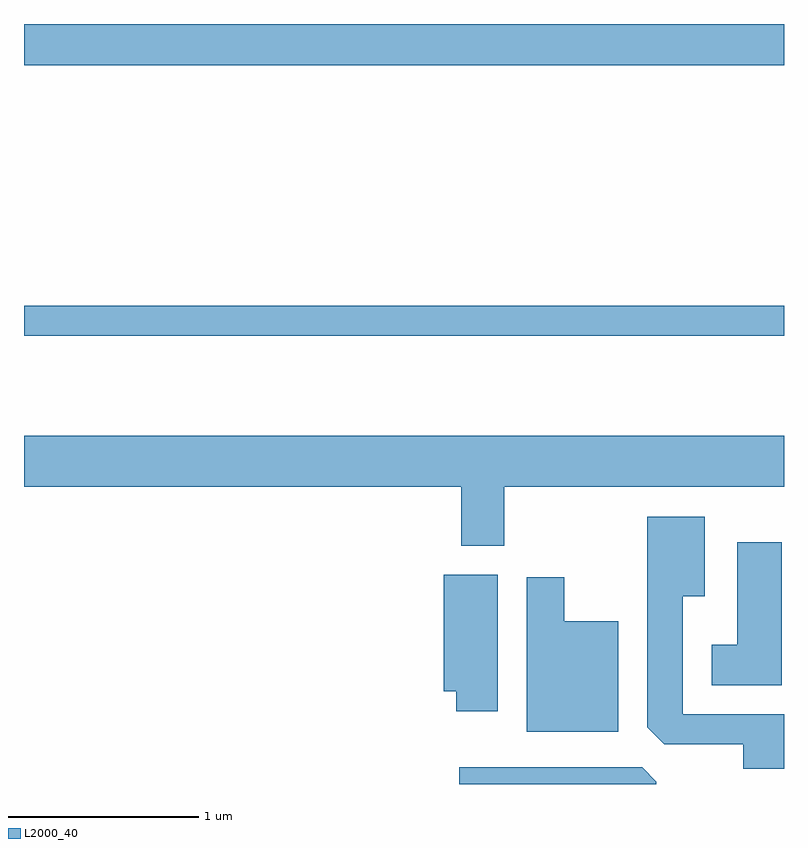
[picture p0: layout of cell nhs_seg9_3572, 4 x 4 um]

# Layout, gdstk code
import gdstk
lib = gdstk.Library(unit=1e-6, precision=1e-09)
def R(c, l, rs):  # rectangles x0, y0, x1, y1
    for r in rs: c.add(gdstk.rectangle(r[:2], r[2:], *l))
def P(c, l, *ps):  # polygons
    for p in ps: c.add(gdstk.Polygon(p, *l))
L2000_40 = (2000, 40)

nhs_seg9_3572 = lib.new_cell('nhs_seg9_3572')
R(nhs_seg9_3572, L2000_40, [(289.611,2034.791,293.611,2034.949), (289.611,2036.216,293.611,2036.432)])
P(nhs_seg9_3572, L2000_40, [(292.139,2033.996),(293.611,2033.996),(293.611,2034.264),(289.611,2034.264),(289.611,2033.996),(291.911,2033.996),(291.911,2033.686),(292.139,2033.686)],
  [(293.611,2032.799),(293.079,2032.799),(293.079,2033.421),(293.194,2033.421),(293.194,2033.839),(292.891,2033.839),(292.891,2032.732),(292.982,2032.641),(293.396,2032.641),(293.396,2032.511),(293.611,2032.511)],
  [(293.599,2033.704),(293.366,2033.704),(293.366,2033.164),(293.231,2033.164),(293.231,2032.951),(293.599,2032.951)],
  [(292.104,2033.534),(291.821,2033.534),(291.821,2032.921),(291.886,2032.921),(291.886,2032.816),(292.104,2032.816)],
  [(292.739,2033.289),(292.454,2033.289),(292.454,2033.519),(292.256,2033.519),(292.256,2032.706),(292.739,2032.706)],
  [(292.939,2032.444),(292.864,2032.519),(291.903,2032.519),(291.903,2032.432),(292.939,2032.432)])

lib.write_gds('nhs_seg9_3572.gds')
